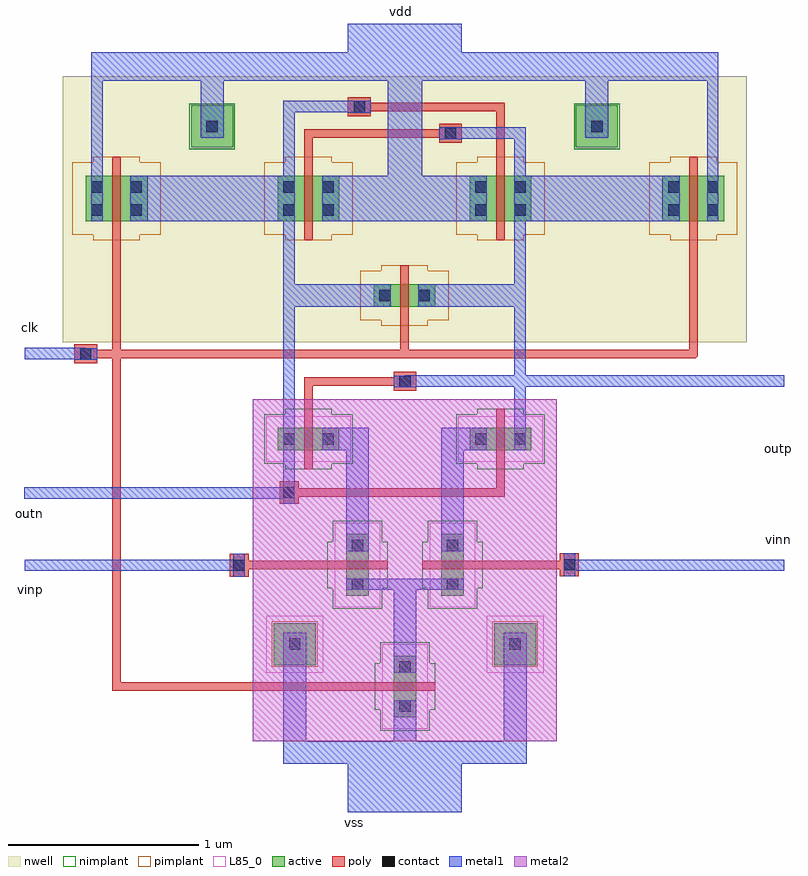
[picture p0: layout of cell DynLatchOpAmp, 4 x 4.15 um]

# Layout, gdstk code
from math import pi, radians
import gdstk
lib = gdstk.Library(unit=1e-6, precision=5e-10)
def R(c, l, rs):  # rectangles x0, y0, x1, y1
    for r in rs: c.add(gdstk.rectangle(r[:2], r[2:], *l))
def P(c, l, *ps):  # polygons
    for p in ps: c.add(gdstk.Polygon(p, *l))
active = (1, 0)
nwell = (2, 0)
poly = (3, 0)
nimplant = (4, 0)
pimplant = (5, 0)
contact = (6, 0)
metal1 = (7, 0)
metal2 = (9, 0)
L85_0 = (85, 0)

nmos1v__4 = lib.new_cell('nmos1v$$4')
R(nmos1v__4, active, [(-0.14,0,0,0.12), (0,0,0.045,0.12), (0.045,0,0.185,0.12)])
R(nmos1v__4, poly, [(0,-0.1,0.045,-0.05), (0,-0.05,0.045,0), (0,0,0.045,0.12), (0,0.12,0.045,0.17), (0,0.17,0.045,0.22)])
R(nmos1v__4, nimplant, [(-0.1,-0.1,0.145,0.22), (-0.21,-0.07,0.255,0.19)])
R(nmos1v__4, contact, [(-0.11,0.03,-0.05,0.09), (0.095,0.03,0.155,0.09)])
R(nmos1v__4, metal1, [(-0.11,0,-0.05,0.12), (0.095,0,0.155,0.12)])
R(nmos1v__4, L85_0, [(-0.2,-0.06,0.245,0.18)])

pmos1v__5 = lib.new_cell('pmos1v$$5')
R(pmos1v__5, active, [(-0.14,0,0,0.24), (0,0,0.045,0.24), (0.045,0,0.185,0.24)])
R(pmos1v__5, nwell, [(-0.2,-0.06,0.245,0.3)])
R(pmos1v__5, poly, [(0,-0.1,0.045,-0.05), (0,-0.05,0.045,0), (0,0,0.045,0.24), (0,0.24,0.045,0.29), (0,0.29,0.045,0.34)])
R(pmos1v__5, pimplant, [(-0.1,-0.1,0.145,0.34), (-0.21,-0.07,0.255,0.31)])
R(pmos1v__5, contact, [(-0.11,0.03,-0.05,0.09), (0.095,0.03,0.155,0.09), (-0.11,0.15,-0.05,0.21), (0.095,0.15,0.155,0.21)])
R(pmos1v__5, metal1, [(-0.11,0,-0.05,0.24), (0.095,0,0.155,0.24)])

pmos1v__6 = lib.new_cell('pmos1v$$6')
R(pmos1v__6, active, [(-0.14,0,0,0.12), (0,0,0.045,0.12), (0.045,0,0.185,0.12)])
R(pmos1v__6, nwell, [(-0.2,-0.06,0.245,0.18)])
R(pmos1v__6, poly, [(0,-0.1,0.045,-0.05), (0,-0.05,0.045,0), (0,0,0.045,0.12), (0,0.12,0.045,0.17), (0,0.17,0.045,0.22)])
R(pmos1v__6, pimplant, [(-0.1,-0.1,0.145,0.22), (-0.21,-0.07,0.255,0.19)])
R(pmos1v__6, contact, [(-0.11,0.03,-0.05,0.09), (0.095,0.03,0.155,0.09)])
R(pmos1v__6, metal1, [(-0.11,0,-0.05,0.12), (0.095,0,0.155,0.12)])

m1_po__1 = lib.new_cell('M1_PO$$1')
R(m1_po__1, poly, [(-0.05,-0.06,0.05,0.06)])
R(m1_po__1, contact, [(-0.03,-0.03,0.03,0.03)])
R(m1_po__1, metal1, [(-0.03,-0.06,0.03,0.06)])

m1_nwell__2 = lib.new_cell('M1_NWELL$$2')
R(m1_nwell__2, active, [(-0.11,-0.11,0.11,0.11)])
R(m1_nwell__2, nwell, [(-0.15,-0.15,0.15,0.15)])
R(m1_nwell__2, nimplant, [(-0.12,-0.12,0.12,0.12)])
R(m1_nwell__2, contact, [(-0.03,-0.03,0.03,0.03)])
R(m1_nwell__2, metal1, [(-0.03,-0.06,0.03,0.06)])

m1_psub__3 = lib.new_cell('M1_PSUB$$3')
R(m1_psub__3, active, [(-0.11,-0.11,0.11,0.11)])
R(m1_psub__3, pimplant, [(-0.12,-0.12,0.12,0.12)])
R(m1_psub__3, contact, [(-0.03,-0.03,0.03,0.03)])
R(m1_psub__3, metal1, [(-0.03,-0.06,0.03,0.06)])
R(m1_psub__3, L85_0, [(-0.15,-0.15,0.15,0.15)])

dynlatchopamp = lib.new_cell('DynLatchOpAmp')
R(dynlatchopamp, nwell, [(0.2,2.4,3.8,3.8)])
P(dynlatchopamp, poly, [(3.505,2.315),(3.495,2.325),(3.495,2.935),(3.54,2.935),(3.54,2.325),(3.53,2.315)],
  [(0.46,2.315),(0.46,2.36),(3.53,2.36),(3.54,2.35),(3.54,2.325),(3.53,2.315)])
R(dynlatchopamp, metal1, [(1.7,-0.075,2.3,0.075), (0,1.195,0.06,1.255), (3.935,1.195,3.995,1.255), (-0.005,1.575,0.055,1.635), (3.935,2.165,3.995,2.225), (0,2.31,0.06,2.37), (1.7,3.925,2.3,4.075)])
R(dynlatchopamp, metal2, [(1.2,0.3,2.8,2.1)])
dynlatchopamp.add(gdstk.FlexPath([(0.4825,2.3375),(0.4825,0.5875)], 0.045, ends="extended", simple_path=True, layer=3, datatype=0))  # poly
dynlatchopamp.add(gdstk.FlexPath([(2.865,1.2275),(2.41,1.2275)], 0.045, ends="flush", simple_path=True, layer=3, datatype=0))  # poly
dynlatchopamp.add(gdstk.FlexPath([(1.1275,1.225),(1.1275,1.2275)], 0.045, ends=(0, 0.0225), simple_path=True, layer=3, datatype=0))  # poly
dynlatchopamp.add(gdstk.FlexPath([(1.1275,1.2275),(1.59,1.2275)], 0.045, ends=(0.0225, 0), simple_path=True, layer=3, datatype=0))  # poly
dynlatchopamp.add(gdstk.FlexPath([(1.76,3.6375),(2.5025,3.6375)], 0.045, ends=(0, 0.0225), simple_path=True, layer=3, datatype=0))  # poly
dynlatchopamp.add(gdstk.FlexPath([(1.9975,2.485),(1.9975,2.3375)], 0.045, ends=(0, 0.0225), simple_path=True, layer=3, datatype=0))  # poly
dynlatchopamp.add(gdstk.FlexPath([(0.4825,0.5875),(1.84,0.5875)], 0.045, ends=(0.0225, 0), simple_path=True, layer=3, datatype=0))  # poly
dynlatchopamp.add(gdstk.FlexPath([(0.32,2.3375),(0.4825,2.3375)], 0.045, ends=(0, 0.0225), simple_path=True, layer=3, datatype=0))  # poly
dynlatchopamp.add(gdstk.FlexPath([(1.4925,2.1925),(2,2.1925)], 0.045, ends=(0.0225, 0), simple_path=True, layer=3, datatype=0))  # poly
dynlatchopamp.add(gdstk.FlexPath([(1.4925,3.4975),(1.4925,3.375)], 0.045, ends=(0.0225, 0), simple_path=True, layer=3, datatype=0))  # poly
dynlatchopamp.add(gdstk.FlexPath([(2.24,3.4975),(1.4925,3.4975)], 0.045, ends=(0, 0.0225), simple_path=True, layer=3, datatype=0))  # poly
dynlatchopamp.add(gdstk.FlexPath([(2.5025,1.6075),(1.39,1.6075)], 0.045, ends=(0.0225, 0), simple_path=True, layer=3, datatype=0))  # poly
dynlatchopamp.add(gdstk.FlexPath([(2.5025,1.73),(2.5025,1.6075)], 0.045, ends=(0, 0.0225), simple_path=True, layer=3, datatype=0))  # poly
dynlatchopamp.add(gdstk.FlexPath([(0.4825,2.935),(0.4825,2.3375)], 0.045, ends=(0, 0.0225), simple_path=True, layer=3, datatype=0))  # poly
dynlatchopamp.add(gdstk.FlexPath([(1.4925,2.05),(1.4925,2.1925)], 0.045, ends=(0, 0.0225), simple_path=True, layer=3, datatype=0))  # poly
dynlatchopamp.add(gdstk.FlexPath([(2.5025,3.6375),(2.5025,3.375)], 0.045, ends=(0.0225, 0), simple_path=True, layer=3, datatype=0))  # poly
dynlatchopamp.add(gdstk.FlexPath([(2.605,3.5),(2.605,3.275)], 0.06, ends=(0.03, 0), simple_path=True, layer=7, datatype=0))  # metal1
dynlatchopamp.add(gdstk.FlexPath([(2,0.075),(2,0.24)], 0.6, ends=(0, 0.06), simple_path=True, layer=7, datatype=0))  # metal1
dynlatchopamp.add(gdstk.FlexPath([(2.58,0.24),(2.58,0.81)], 0.12, ends="extended", simple_path=True, layer=7, datatype=0))  # metal1
dynlatchopamp.add(gdstk.FlexPath([(2.24,3.4975),(2.24,3.5)], 0.12, ends=(0, 0.03), simple_path=True, layer=7, datatype=0))  # metal1
dynlatchopamp.add(gdstk.FlexPath([(0.985,3.535),(0.985,3.85)], 0.12, ends=(0.06, 0.075), simple_path=True, layer=7, datatype=0))  # metal1
dynlatchopamp.add(gdstk.FlexPath([(0.38,3.85),(0.985,3.85)], 0.15, ends=(0.03, 0.06), simple_path=True, layer=7, datatype=0))  # metal1
dynlatchopamp.add(gdstk.FlexPath([(2,3.85),(3.01,3.85)], 0.15, ends=(0.09, 0.06), simple_path=True, layer=7, datatype=0))  # metal1
dynlatchopamp.add(gdstk.FlexPath([(3.01,3.535),(3.01,3.85)], 0.12, ends=(0.06, 0.075), simple_path=True, layer=7, datatype=0))  # metal1
dynlatchopamp.add(gdstk.FlexPath([(2,3.155),(2,3.85)], 0.18, ends=(0.12, 0.075), simple_path=True, layer=7, datatype=0))  # metal1
dynlatchopamp.add(gdstk.FlexPath([(2,3.155),(2.37,3.155)], 0.24, ends=(0.09, 0), simple_path=True, layer=7, datatype=0))  # metal1
dynlatchopamp.add(gdstk.FlexPath([(3.62,3.275),(3.62,3.85)], 0.06, ends=(0, 0.075), simple_path=True, layer=7, datatype=0))  # metal1
dynlatchopamp.add(gdstk.FlexPath([(2,3.85),(2,3.925)], 0.18, ends=(0.075, 0), simple_path=True, layer=7, datatype=0))  # metal1
dynlatchopamp.add(gdstk.FlexPath([(0.38,3.275),(0.38,3.85)], 0.06, ends=(0, 0.075), simple_path=True, layer=7, datatype=0))  # metal1
dynlatchopamp.add(gdstk.FlexPath([(3.62,3.85),(3.01,3.85)], 0.15, ends=(0.03, 0.06), simple_path=True, layer=7, datatype=0))  # metal1
dynlatchopamp.add(gdstk.FlexPath([(2,0.455),(2,0.24)], 0.12, ends=(0, 0.06), simple_path=True, layer=7, datatype=0))  # metal1
dynlatchopamp.add(gdstk.FlexPath([(0.025,1.605),(1.39,1.605)], 0.06, ends="flush", simple_path=True, layer=7, datatype=0))  # metal1
dynlatchopamp.add(gdstk.FlexPath([(0.985,3.85),(2,3.85)], 0.15, ends=(0.06, 0.09), simple_path=True, layer=7, datatype=0))  # metal1
dynlatchopamp.add(gdstk.FlexPath([(3.965,1.225),(2.865,1.225)], 0.06, ends="flush", simple_path=True, layer=7, datatype=0))  # metal1
dynlatchopamp.add(gdstk.FlexPath([(0.06,1.225),(1.1275,1.225)], 0.06, ends="flush", simple_path=True, layer=7, datatype=0))  # metal1
dynlatchopamp.add(gdstk.FlexPath([(1.76,3.64),(1.39,3.64)], 0.06, ends=(0.06, 0.03), simple_path=True, layer=7, datatype=0))  # metal1
dynlatchopamp.add(gdstk.FlexPath([(2,0.24),(2.58,0.24)], 0.12, ends="extended", simple_path=True, layer=7, datatype=0))  # metal1
dynlatchopamp.add(gdstk.FlexPath([(1.76,3.6375),(1.76,3.64)], 0.12, ends=(0, 0.03), simple_path=True, layer=7, datatype=0))  # metal1
dynlatchopamp.add(gdstk.FlexPath([(0.615,3.155),(1.36,3.155)], 0.24, ends="flush", simple_path=True, layer=7, datatype=0))  # metal1
dynlatchopamp.add(gdstk.FlexPath([(1.81,1.125),(2,1.125)], 0.06, ends=(0, 0.06), simple_path=True, layer=7, datatype=0))  # metal1
dynlatchopamp.add(gdstk.FlexPath([(2.605,1.95),(2.605,2.195)], 0.06, ends=(0, 0.03), simple_path=True, layer=7, datatype=0))  # metal1
dynlatchopamp.add(gdstk.FlexPath([(2,1.125),(2.19,1.125)], 0.06, ends=(0.06, 0), simple_path=True, layer=7, datatype=0))  # metal1
dynlatchopamp.add(gdstk.FlexPath([(2,0.72),(2,1.125)], 0.12, ends=(0, 0.03), simple_path=True, layer=7, datatype=0))  # metal1
dynlatchopamp.add(gdstk.FlexPath([(2.25,1.89),(2.37,1.89)], 0.12, ends=(0.06, 0), simple_path=True, layer=7, datatype=0))  # metal1
dynlatchopamp.add(gdstk.FlexPath([(1.75,1.89),(1.75,1.36)], 0.12, ends=(0.06, 0), simple_path=True, layer=7, datatype=0))  # metal1
dynlatchopamp.add(gdstk.FlexPath([(1.625,1.89),(1.75,1.89)], 0.12, ends=(0, 0.06), simple_path=True, layer=7, datatype=0))  # metal1
dynlatchopamp.add(gdstk.FlexPath([(2.25,1.36),(2.25,1.89)], 0.12, ends=(0, 0.06), simple_path=True, layer=7, datatype=0))  # metal1
dynlatchopamp.add(gdstk.FlexPath([(2,0.24),(1.42,0.24)], 0.12, ends="extended", simple_path=True, layer=7, datatype=0))  # metal1
dynlatchopamp.add(gdstk.FlexPath([(2.605,2.195),(2.605,3.035)], 0.06, ends=(0.03, 0), simple_path=True, layer=7, datatype=0))  # metal1
dynlatchopamp.add(gdstk.FlexPath([(2.605,2.195),(2,2.195)], 0.06, ends=(0.03, 0), simple_path=True, layer=7, datatype=0))  # metal1
dynlatchopamp.add(gdstk.FlexPath([(1.39,1.6075),(1.39,1.83)], 0.06, ends="flush", simple_path=True, layer=7, datatype=0))  # metal1
dynlatchopamp.add(gdstk.FlexPath([(1.39,3.64),(1.39,3.275)], 0.06, ends=(0.03, 0), simple_path=True, layer=7, datatype=0))  # metal1
dynlatchopamp.add(gdstk.FlexPath([(1.865,2.645),(1.39,2.645)], 0.12, ends=(0, 0.03), simple_path=True, layer=7, datatype=0))  # metal1
dynlatchopamp.add(gdstk.FlexPath([(2.635,3.155),(3.385,3.155)], 0.24, ends="flush", simple_path=True, layer=7, datatype=0))  # metal1
dynlatchopamp.add(gdstk.FlexPath([(1.39,1.95),(1.39,3.035)], 0.06, ends="flush", simple_path=True, layer=7, datatype=0))  # metal1
dynlatchopamp.add(gdstk.FlexPath([(2.24,3.5),(2.605,3.5)], 0.06, ends=(0.06, 0.03), simple_path=True, layer=7, datatype=0))  # metal1
dynlatchopamp.add(gdstk.FlexPath([(3.935,2.195),(2.605,2.195)], 0.06, ends=(0, 0.03), simple_path=True, layer=7, datatype=0))  # metal1
dynlatchopamp.add(gdstk.FlexPath([(0.03,2.34),(0.32,2.34)], 0.06, ends="flush", simple_path=True, layer=7, datatype=0))  # metal1
dynlatchopamp.add(gdstk.FlexPath([(2.13,2.645),(2.605,2.645)], 0.12, ends=(0, 0.03), simple_path=True, layer=7, datatype=0))  # metal1
dynlatchopamp.add(gdstk.FlexPath([(1.625,3.155),(2,3.155)], 0.24, ends=(0, 0.09), simple_path=True, layer=7, datatype=0))  # metal1
dynlatchopamp.add(gdstk.FlexPath([(1.42,0.24),(1.42,0.81)], 0.12, ends="extended", simple_path=True, layer=7, datatype=0))  # metal1
dynlatchopamp.add(gdstk.Reference(nmos1v__4, (2.31,1.205), rotation=pi/2))
dynlatchopamp.add(gdstk.Reference(nmos1v__4, (1.515,1.95), rotation=pi))
dynlatchopamp.add(gdstk.Reference(nmos1v__4, (2.48,1.83)))
dynlatchopamp.add(gdstk.Reference(nmos1v__4, (1.81,1.205), rotation=pi/2))
dynlatchopamp.add(gdstk.Reference(nmos1v__4, (2.06,0.565), rotation=pi/2))
dynlatchopamp.add(gdstk.Reference(pmos1v__5, (3.54,3.275), rotation=pi))
dynlatchopamp.add(gdstk.Reference(pmos1v__5, (2.48,3.035)))
dynlatchopamp.add(gdstk.Reference(pmos1v__5, (1.515,3.275), rotation=pi))
dynlatchopamp.add(gdstk.Reference(pmos1v__5, (0.46,3.035)))
dynlatchopamp.add(gdstk.Reference(pmos1v__6, (1.975,2.585)))
dynlatchopamp.add(gdstk.Reference(m1_po__1, (0.32,2.3375), rotation=pi/2))
dynlatchopamp.add(gdstk.Reference(m1_po__1, (2.865,1.2275)))
dynlatchopamp.add(gdstk.Reference(m1_po__1, (1.1275,1.225)))
dynlatchopamp.add(gdstk.Reference(m1_po__1, (1.76,3.6375), rotation=pi/2))
dynlatchopamp.add(gdstk.Reference(m1_po__1, (2.24,3.4975), rotation=pi/2))
dynlatchopamp.add(gdstk.Reference(m1_po__1, (2,2.1925), rotation=pi/2))
dynlatchopamp.add(gdstk.Reference(m1_po__1, (1.39,1.6075)))
dynlatchopamp.add(gdstk.Reference(m1_nwell__2, (3.01,3.535)))
dynlatchopamp.add(gdstk.Reference(m1_nwell__2, (0.985,3.535)))
dynlatchopamp.add(gdstk.Reference(m1_psub__3, (1.42,0.81)))
dynlatchopamp.add(gdstk.Reference(m1_psub__3, (2.58,0.81)))
dynlatchopamp.add(gdstk.Label('outp', (3.965,1.84), layer=7, texttype=0))
dynlatchopamp.add(gdstk.Label('outn', (0.025,1.5), layer=7, texttype=0))
dynlatchopamp.add(gdstk.Label('vinp', (0.03,1.1), layer=7, texttype=0))
dynlatchopamp.add(gdstk.Label('vinn', (3.965,1.36), layer=7, texttype=0))
dynlatchopamp.add(gdstk.Label('clk', (0.03,2.475), layer=7, texttype=0))
dynlatchopamp.add(gdstk.Label('vss', (1.735,-0.13), layer=7, texttype=0))
dynlatchopamp.add(gdstk.Label('vdd', (1.98,4.14), layer=7, texttype=0))

lib.write_gds('DynLatchOpAmp.gds')
